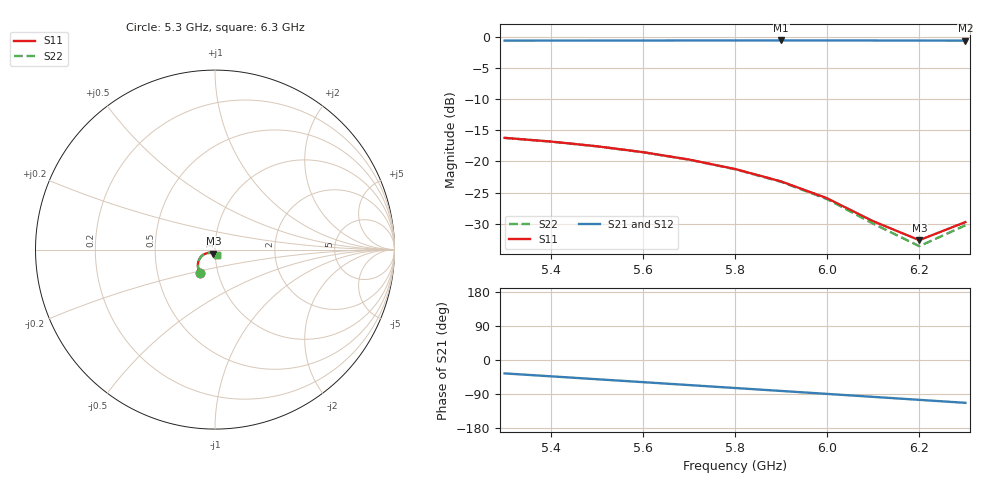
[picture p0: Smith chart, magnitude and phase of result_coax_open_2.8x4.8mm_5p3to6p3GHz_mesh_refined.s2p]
! Fixed 2.8 x 4.8 mm L2 cutout; Refined first-order mesh
! 11 direct FEM points; coax references; connectors included
# Hz S RI R 50
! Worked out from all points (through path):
!   11 points, 5.3 GHz to 6.3 GHz, reference 50 ohm
!   highest |S21| = -0.56 dB at 5.9 GHz (marker M1); lowest = -0.6 dB at 6.3 GHz (marker M2)
!   group delay of S21, straight-line fit = 216 ps
!   lowest |S11| = -32.6 dB at 6.2 GHz (marker M3), VSWR 1.05, Z = 49.1 - j2.14 ohm
!   |S11| at or under -10 dB: start of sweep to end of sweep
!   |S22| runs from -33.6 to -16.2 dB; largest |S21 - S12| = 1e-12
5.3e9  -0.0841 -0.1299  0.7619 -0.5406  0.7619 -0.5406  -0.0831 -0.1305
5.4e9  -0.0923 -0.1112  0.6833 -0.6379  0.6833 -0.6379  -0.0915 -0.1117
5.5e9  -0.0956 -0.0917  0.5924 -0.724  0.5924 -0.724  -0.0952 -0.0919
5.6e9  -0.0942 -0.0724  0.4904 -0.7975  0.4904 -0.7975  -0.0939 -0.0724
5.7e9  -0.0881 -0.0546  0.3789 -0.8567  0.3789 -0.8567  -0.088 -0.0543
5.8e9  -0.0776 -0.0393  0.26 -0.9004  0.26 -0.9004  -0.0776 -0.0386
5.9e9  -0.0634 -0.0276  0.1358 -0.9274  0.1358 -0.9274  -0.0633 -0.0264
6e9  -0.0464 -0.0203  0.00854 -0.9371  0.00854 -0.9371  -0.0462 -0.0187
6.1e9  -0.0276 -0.0182  -0.1192 -0.929  -0.1192 -0.929  -0.0271 -0.0163
6.2e9  -0.00839 -0.0218  -0.2448 -0.9029  -0.2448 -0.9029  -0.00749 -0.0195
6.3e9  0.00998 -0.031  -0.3656 -0.8594  -0.3656 -0.8594  0.0113 -0.0285
